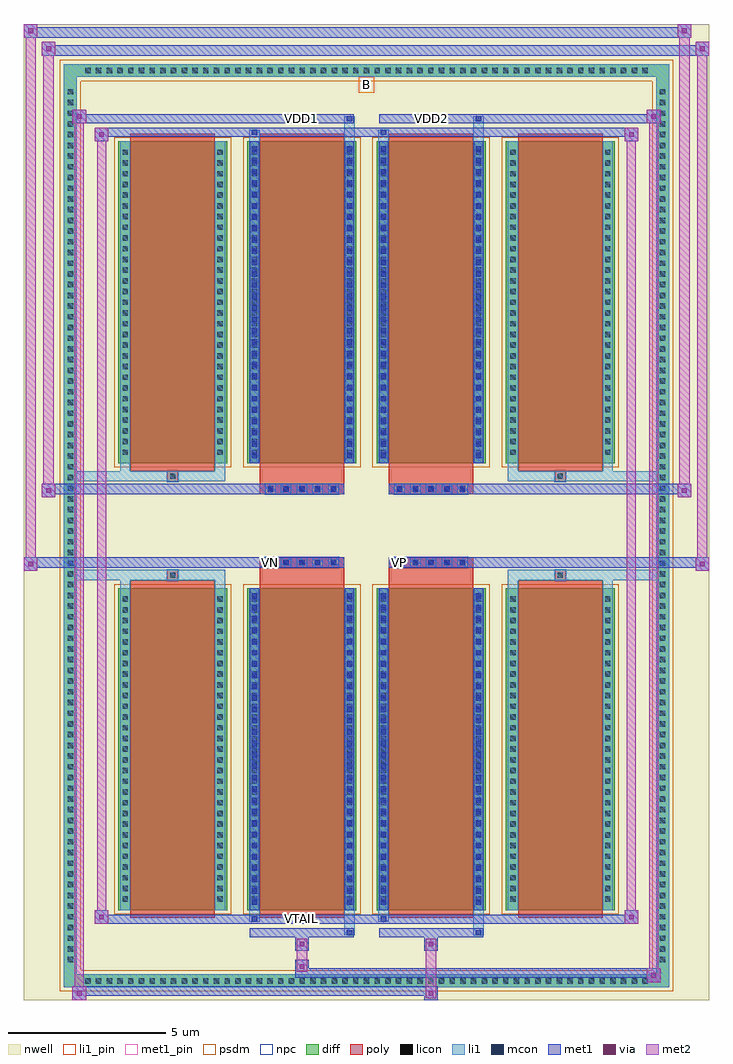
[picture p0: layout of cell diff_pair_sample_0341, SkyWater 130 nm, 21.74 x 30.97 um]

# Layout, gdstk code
import gdstk
lib = gdstk.Library(unit=1e-6, precision=5e-09)
def R(c, l, rs):  # rectangles x0, y0, x1, y1
    for r in rs: c.add(gdstk.rectangle(r[:2], r[2:], *l))
def A(c, l, x, y, w, h, nx, ny, dx, dy):  # array of equal rectangles
    R(c, l, [(x+i*dx, y+j*dy, x+i*dx+w, y+j*dy+h) for i in range(nx) for j in range(ny)])
def P(c, l, *ps):  # polygons
    for p in ps: c.add(gdstk.Polygon(p, *l))
nwell = (64, 20)
diff = (65, 20)
poly = (66, 20)
licon = (66, 44)
li1_pin = (67, 16)
li1 = (67, 20)
mcon = (67, 44)
met1_pin = (68, 16)
met1 = (68, 20)
via = (68, 44)
met2 = (69, 20)
psdm = (94, 20)
npc = (95, 20)

diff_pair_sample_0341 = lib.new_cell('diff_pair_sample_0341')
R(diff_pair_sample_0341, nwell, [(-10.87,-15.05,10.87,15.92), (-8.19,-13.24,-0.01,-0.8), (0.01,-13.24,8.19,-0.8), (-8.19,0.8,-0.01,13.24), (0.01,0.8,8.19,13.24)])
A(diff_pair_sample_0341, diff, -9.045, -14.65, 0.41, 0.41, 53, 2, 0.34, 28.89)
A(diff_pair_sample_0341, diff, -9.6, -13.975, 0.41, 0.41, 1, 82, 0, 0.34)
A(diff_pair_sample_0341, diff, 9.19, -13.975, 0.41, 0.41, 1, 82, 0, 0.34)
A(diff_pair_sample_0341, diff, -7.88, -12.195, 3.46, 10.21, 4, 2, 4.1, 14.18)
R(diff_pair_sample_0341, diff, [(-9.045,-14.65,9.045,-14.24), (-9.6,-13.975,-9.19,13.975), (9.19,-13.975,9.6,13.975), (-9.045,14.24,9.045,14.65)])
P(diff_pair_sample_0341, diff, [(9.6,14.65),(-9.6,14.65),(-9.6,-14.24),(-9.19,-14.24),(-9.19,14.24),(9.19,14.24),(9.19,-14.24),(-9.19,-14.24),(-9.6,-14.24),(-9.6,-14.65),(9.6,-14.65)])
A(diff_pair_sample_0341, poly, -7.49, -12.445, 2.68, 10.71, 4, 2, 4.1, 14.18)
A(diff_pair_sample_0341, poly, -3.215, -1.33, 0.33, 0.33, 5, 2, 0.5, 2.33)
A(diff_pair_sample_0341, poly, 0.885, -1.33, 0.33, 0.33, 5, 2, 0.5, 2.33)
R(diff_pair_sample_0341, poly, [(-6.315,-1.735,-5.985,-1.405), (-6.315,-1.735,-5.985,-1.405), (-3.39,-1.735,-0.71,-1.33), (0.71,-1.735,3.39,-1.33), (5.985,-1.735,6.315,-1.405), (5.985,-1.735,6.315,-1.405), (-3.39,-1.33,-0.71,-1), (0.71,-1.33,3.39,-1), (-3.39,1,-0.71,1.33), (0.71,1,3.39,1.33), (-3.39,1.33,-0.71,1.735), (0.71,1.33,3.39,1.735), (-6.315,1.405,-5.985,1.735), (-6.315,1.405,-5.985,1.735), (5.985,1.405,6.315,1.735), (5.985,1.405,6.315,1.735)])
A(diff_pair_sample_0341, licon, -8.925, -14.53, 0.17, 0.17, 53, 2, 0.34, 28.89)
A(diff_pair_sample_0341, licon, -9.48, -13.855, 0.17, 0.17, 1, 82, 0, 0.34)
A(diff_pair_sample_0341, licon, 9.31, -13.855, 0.17, 0.17, 1, 82, 0, 0.34)
A(diff_pair_sample_0341, licon, -7.74, -11.935, 0.17, 0.17, 1, 29, 0, 0.34)
A(diff_pair_sample_0341, licon, -4.73, -11.935, 0.17, 0.17, 1, 29, 0, 0.34)
A(diff_pair_sample_0341, licon, -3.64, -11.935, 0.17, 0.17, 1, 29, 0, 0.34)
A(diff_pair_sample_0341, licon, -0.63, -11.935, 0.17, 0.17, 1, 29, 0, 0.34)
A(diff_pair_sample_0341, licon, 0.46, -11.935, 0.17, 0.17, 1, 29, 0, 0.34)
A(diff_pair_sample_0341, licon, 3.47, -11.935, 0.17, 0.17, 1, 29, 0, 0.34)
A(diff_pair_sample_0341, licon, 4.56, -11.935, 0.17, 0.17, 1, 29, 0, 0.34)
A(diff_pair_sample_0341, licon, 7.57, -11.935, 0.17, 0.17, 1, 29, 0, 0.34)
A(diff_pair_sample_0341, licon, -3.135, -1.25, 0.17, 0.17, 5, 2, 0.5, 2.33)
A(diff_pair_sample_0341, licon, 0.965, -1.25, 0.17, 0.17, 5, 2, 0.5, 2.33)
A(diff_pair_sample_0341, licon, -7.74, 2.245, 0.17, 0.17, 1, 29, 0, 0.34)
A(diff_pair_sample_0341, licon, -4.73, 2.245, 0.17, 0.17, 1, 29, 0, 0.34)
A(diff_pair_sample_0341, licon, -3.64, 2.245, 0.17, 0.17, 1, 29, 0, 0.34)
A(diff_pair_sample_0341, licon, -0.63, 2.245, 0.17, 0.17, 1, 29, 0, 0.34)
A(diff_pair_sample_0341, licon, 0.46, 2.245, 0.17, 0.17, 1, 29, 0, 0.34)
A(diff_pair_sample_0341, licon, 3.47, 2.245, 0.17, 0.17, 1, 29, 0, 0.34)
A(diff_pair_sample_0341, licon, 4.56, 2.245, 0.17, 0.17, 1, 29, 0, 0.34)
A(diff_pair_sample_0341, licon, 7.57, 2.245, 0.17, 0.17, 1, 29, 0, 0.34)
R(diff_pair_sample_0341, licon, [(-6.235,-1.655,-6.065,-1.485), (6.065,-1.655,6.235,-1.485), (-6.235,1.485,-6.065,1.655), (6.065,1.485,6.235,1.655)])
R(diff_pair_sample_0341, li1_pin, [(-0.25,13.74,0.25,14.24)])
A(diff_pair_sample_0341, li1, -9.005, -14.61, 0.33, 0.33, 53, 2, 0.34, 28.89)
A(diff_pair_sample_0341, li1, -9.56, -13.935, 0.33, 0.33, 1, 82, 0, 0.34)
A(diff_pair_sample_0341, li1, 9.23, -13.935, 0.33, 0.33, 1, 82, 0, 0.34)
A(diff_pair_sample_0341, li1, -3.64, -12.035, 0.17, 0.17, 1, 28, 0, 0.36)
A(diff_pair_sample_0341, li1, -0.63, -12.035, 0.17, 0.17, 1, 28, 0, 0.36)
A(diff_pair_sample_0341, li1, 0.46, -12.035, 0.17, 0.17, 1, 28, 0, 0.36)
A(diff_pair_sample_0341, li1, 3.47, -12.035, 0.17, 0.17, 1, 28, 0, 0.36)
A(diff_pair_sample_0341, li1, -7.82, -12.015, 0.33, 0.33, 1, 29, 0, 0.34)
A(diff_pair_sample_0341, li1, -4.81, -12.015, 0.33, 0.33, 1, 29, 0, 0.34)
A(diff_pair_sample_0341, li1, -3.72, -12.015, 0.33, 0.33, 1, 29, 0, 0.34)
A(diff_pair_sample_0341, li1, -0.71, -12.015, 0.33, 0.33, 1, 29, 0, 0.34)
A(diff_pair_sample_0341, li1, 0.38, -12.015, 0.33, 0.33, 1, 29, 0, 0.34)
A(diff_pair_sample_0341, li1, 3.39, -12.015, 0.33, 0.33, 1, 29, 0, 0.34)
A(diff_pair_sample_0341, li1, 4.48, -12.015, 0.33, 0.33, 1, 29, 0, 0.34)
A(diff_pair_sample_0341, li1, 7.49, -12.015, 0.33, 0.33, 1, 29, 0, 0.34)
A(diff_pair_sample_0341, li1, -3.215, -1.33, 0.33, 0.33, 5, 2, 0.5, 2.33)
A(diff_pair_sample_0341, li1, 0.885, -1.33, 0.33, 0.33, 5, 2, 0.5, 2.33)
A(diff_pair_sample_0341, li1, -3.64, 2.145, 0.17, 0.17, 1, 28, 0, 0.36)
A(diff_pair_sample_0341, li1, -0.63, 2.145, 0.17, 0.17, 1, 28, 0, 0.36)
A(diff_pair_sample_0341, li1, 0.46, 2.145, 0.17, 0.17, 1, 28, 0, 0.36)
A(diff_pair_sample_0341, li1, 3.47, 2.145, 0.17, 0.17, 1, 28, 0, 0.36)
A(diff_pair_sample_0341, li1, -7.82, 2.165, 0.33, 0.33, 1, 29, 0, 0.34)
A(diff_pair_sample_0341, li1, -4.81, 2.165, 0.33, 0.33, 1, 29, 0, 0.34)
A(diff_pair_sample_0341, li1, -3.72, 2.165, 0.33, 0.33, 1, 29, 0, 0.34)
A(diff_pair_sample_0341, li1, -0.71, 2.165, 0.33, 0.33, 1, 29, 0, 0.34)
A(diff_pair_sample_0341, li1, 0.38, 2.165, 0.33, 0.33, 1, 29, 0, 0.34)
A(diff_pair_sample_0341, li1, 3.39, 2.165, 0.33, 0.33, 1, 29, 0, 0.34)
A(diff_pair_sample_0341, li1, 4.48, 2.165, 0.33, 0.33, 1, 29, 0, 0.34)
A(diff_pair_sample_0341, li1, 7.49, 2.165, 0.33, 0.33, 1, 29, 0, 0.34)
R(diff_pair_sample_0341, li1, [(-9.6,-14.65,-9.19,-14.24), (-9.6,-14.65,-9.19,-14.24), (-9.19,-14.65,9.19,-14.24), (9.19,-14.65,9.6,-14.24), (9.19,-14.65,9.6,-14.24), (-9.6,-14.24,-9.19,14.24), (9.19,-14.24,9.6,14.24), (-0.71,-13,-0.38,-12.195), (-0.63,-13,-0.46,-12.83), (3.39,-13,3.72,-12.195), (3.47,-13,3.64,-12.83), (-3.72,-12.57,-3.39,-12.195), (-3.64,-12.57,-3.47,-12.4), (0.38,-12.57,0.71,-12.195), (0.46,-12.57,0.63,-12.4), (-7.82,-12.195,-7.49,-1.985), (-4.81,-12.195,-4.48,-1.985), (-3.72,-12.195,-3.39,-1.985), (-0.71,-12.195,-0.38,-1.985), (0.38,-12.195,0.71,-1.985), (3.39,-12.195,3.72,-1.985), (4.48,-12.195,4.81,-1.985), (7.49,-12.195,7.82,-1.985), (-3.64,-12.035,-3.47,-2.145), (-0.63,-12.035,-0.46,-2.145), (0.46,-12.035,0.63,-2.145), (3.47,-12.035,3.64,-2.145), (-7.82,-1.985,-7.49,-1.405), (-4.81,-1.985,-4.48,-1.405), (4.48,-1.985,4.81,-1.405), (7.49,-1.985,7.82,-1.405), (-9.6,-1.735,-6.315,-1.405), (-7.82,-1.735,-6.315,-1.405), (-6.315,-1.735,-5.985,-1.405), (-5.985,-1.735,-4.48,-1.405), (4.48,-1.735,5.985,-1.405), (5.985,-1.735,6.315,-1.405), (5.985,-1.735,9.6,-1.405), (6.315,-1.735,7.82,-1.405), (-9.6,1.405,-6.315,1.735), (-7.82,1.405,-6.315,1.735), (-7.82,1.405,-7.49,1.985), (-6.315,1.405,-5.985,1.735), (-5.985,1.405,-4.48,1.735), (-4.81,1.405,-4.48,1.985), (4.48,1.405,5.985,1.735), (4.48,1.405,4.81,1.985), (5.985,1.405,6.315,1.735), (5.985,1.405,9.6,1.735), (6.315,1.405,7.82,1.735), (7.49,1.405,7.82,1.985), (-7.82,1.985,-7.49,12.195), (-4.81,1.985,-4.48,12.195), (-3.72,1.985,-3.39,12.195), (-0.71,1.985,-0.38,12.195), (0.38,1.985,0.71,12.195), (3.39,1.985,3.72,12.195), (4.48,1.985,4.81,12.195), (7.49,1.985,7.82,12.195), (-3.64,2.145,-3.47,12.035), (-0.63,2.145,-0.46,12.035), (0.46,2.145,0.63,12.035), (3.47,2.145,3.64,12.035), (-3.72,12.195,-3.39,12.57), (-0.71,12.195,-0.38,13), (0.38,12.195,0.71,12.57), (3.39,12.195,3.72,13), (-3.64,12.4,-3.47,12.57), (0.46,12.4,0.63,12.57), (-0.63,12.83,-0.46,13), (3.47,12.83,3.64,13), (-9.6,14.24,-9.19,14.65), (-9.6,14.24,-9.19,14.65), (-9.19,14.24,9.19,14.65), (9.19,14.24,9.6,14.65), (9.19,14.24,9.6,14.65)])
A(diff_pair_sample_0341, mcon, -3.64, -12.035, 0.17, 0.17, 1, 28, 0, 0.36)
A(diff_pair_sample_0341, mcon, -0.63, -12.035, 0.17, 0.17, 1, 28, 0, 0.36)
A(diff_pair_sample_0341, mcon, 0.46, -12.035, 0.17, 0.17, 1, 28, 0, 0.36)
A(diff_pair_sample_0341, mcon, 3.47, -12.035, 0.17, 0.17, 1, 28, 0, 0.36)
A(diff_pair_sample_0341, mcon, -3.135, -1.25, 0.17, 0.17, 5, 2, 0.5, 2.33)
A(diff_pair_sample_0341, mcon, 0.965, -1.25, 0.17, 0.17, 5, 2, 0.5, 2.33)
A(diff_pair_sample_0341, mcon, -3.64, 2.145, 0.17, 0.17, 1, 28, 0, 0.36)
A(diff_pair_sample_0341, mcon, -0.63, 2.145, 0.17, 0.17, 1, 28, 0, 0.36)
A(diff_pair_sample_0341, mcon, 0.46, 2.145, 0.17, 0.17, 1, 28, 0, 0.36)
A(diff_pair_sample_0341, mcon, 3.47, 2.145, 0.17, 0.17, 1, 28, 0, 0.36)
R(diff_pair_sample_0341, mcon, [(-0.63,-13,-0.46,-12.83), (3.47,-13,3.64,-12.83), (-3.64,-12.57,-3.47,-12.4), (0.46,-12.57,0.63,-12.4), (-3.64,12.4,-3.47,12.57), (0.46,12.4,0.63,12.57), (-0.63,12.83,-0.46,13), (3.47,12.83,3.64,13)])
R(diff_pair_sample_0341, met1_pin, [(-2.185,-12.61,-1.915,-12.34), (-3.185,-1.29,-2.915,-1.02), (0.915,-1.29,1.185,-1.02), (-2.185,12.79,-1.915,13.06), (1.915,12.79,2.185,13.06)])
A(diff_pair_sample_0341, met1, -3.7, -12.095, 0.29, 0.29, 1, 28, 0, 0.36)
A(diff_pair_sample_0341, met1, -0.69, -12.095, 0.29, 0.29, 1, 28, 0, 0.36)
A(diff_pair_sample_0341, met1, 0.4, -12.095, 0.29, 0.29, 1, 28, 0, 0.36)
A(diff_pair_sample_0341, met1, 3.41, -12.095, 0.29, 0.29, 1, 28, 0, 0.36)
A(diff_pair_sample_0341, met1, -3.195, -1.31, 0.29, 0.29, 5, 2, 0.5, 2.33)
A(diff_pair_sample_0341, met1, 0.905, -1.31, 0.29, 0.29, 5, 2, 0.5, 2.33)
A(diff_pair_sample_0341, met1, -3.7, 2.085, 0.29, 0.29, 1, 28, 0, 0.36)
A(diff_pair_sample_0341, met1, -0.69, 2.085, 0.29, 0.29, 1, 28, 0, 0.36)
A(diff_pair_sample_0341, met1, 0.4, 2.085, 0.29, 0.29, 1, 28, 0, 0.36)
A(diff_pair_sample_0341, met1, 3.41, 2.085, 0.29, 0.29, 1, 28, 0, 0.36)
R(diff_pair_sample_0341, met1, [(-9.33,-15.05,-8.9,-14.62), (1.835,-15.05,2.265,-14.62), (-9.33,-14.91,2.265,-14.62), (8.9,-14.48,9.33,-14.05), (-2.265,-14.34,9.33,-14.05), (-2.265,-14.2,-1.835,-13.77), (-2.265,-13.49,-1.835,-13.06), (1.835,-13.49,2.265,-13.06), (-3.7,-13.06,-0.4,-12.77), (-0.69,-13.06,-0.4,-12.77), (0.4,-13.06,3.7,-12.77), (3.41,-13.06,3.7,-12.77), (-8.62,-12.63,-8.19,-12.2), (-8.62,-12.63,-3.7,-12.34), (-3.7,-12.63,-3.41,-12.34), (-3.7,-12.63,-0.4,-12.34), (-0.4,-12.63,0.4,-12.34), (0.4,-12.63,0.69,-12.34), (0.4,-12.63,3.7,-12.34), (3.7,-12.63,8.62,-12.34), (8.19,-12.63,8.62,-12.2), (-3.7,-12.195,-3.41,-1.985), (-0.69,-12.195,-0.4,-1.985), (0.4,-12.195,0.69,-1.985), (3.41,-12.195,3.7,-1.985), (-10.87,-1.43,-10.44,-1), (10.44,-1.43,10.87,-1), (-10.87,-1.33,-0.71,-1), (-3.39,-1.33,-0.71,-1), (0.71,-1.33,3.39,-1), (0.71,-1.33,10.87,-1), (-10.3,0.9,-9.87,1.33), (9.87,0.9,10.3,1.33), (-10.3,1,-3.39,1.33), (-3.39,1,-0.71,1.33), (0.71,1,3.39,1.33), (3.39,1,10.3,1.33), (-3.7,1.985,-3.41,12.195), (-0.69,1.985,-0.4,12.195), (0.4,1.985,0.69,12.195), (3.41,1.985,3.7,12.195), (-8.62,12.2,-8.19,12.63), (8.19,12.2,8.62,12.63), (-8.62,12.34,-3.7,12.63), (-3.7,12.34,-3.41,12.63), (-3.7,12.34,-0.4,12.63), (-0.4,12.34,0.4,12.63), (0.4,12.34,0.69,12.63), (0.4,12.34,3.7,12.63), (3.7,12.34,8.62,12.63), (-9.33,12.77,-8.9,13.2), (-9.33,12.77,-3.7,13.06), (-3.7,12.77,-0.4,13.06), (-0.69,12.77,-0.4,13.06), (0.4,12.77,3.7,13.06), (3.41,12.77,3.7,13.06), (3.7,12.77,9.33,13.06), (8.9,12.77,9.33,13.2), (-10.3,14.92,-9.87,15.35), (-10.3,14.92,-8.19,15.25), (-8.19,14.92,8.19,15.25), (8.19,14.92,10.87,15.25), (10.44,14.92,10.87,15.35), (-10.87,15.49,-8.19,15.82), (-10.87,15.49,-10.44,15.92), (-8.19,15.49,8.19,15.82), (8.19,15.49,10.3,15.82), (9.87,15.49,10.3,15.92)])
R(diff_pair_sample_0341, via, [(-9.19,-14.91,-9.04,-14.76), (1.975,-14.91,2.125,-14.76), (9.04,-14.34,9.19,-14.19), (-2.125,-14.06,-1.975,-13.91), (-2.125,-13.35,-1.975,-13.2), (1.975,-13.35,2.125,-13.2), (-8.48,-12.49,-8.33,-12.34), (8.33,-12.49,8.48,-12.34), (-10.73,-1.29,-10.58,-1.14), (10.58,-1.29,10.73,-1.14), (-10.16,1.04,-10.01,1.19), (10.01,1.04,10.16,1.19), (-8.48,12.34,-8.33,12.49), (8.33,12.34,8.48,12.49), (-9.19,12.91,-9.04,13.06), (9.04,12.91,9.19,13.06), (-10.16,15.06,-10.01,15.21), (10.58,15.06,10.73,15.21), (-10.73,15.63,-10.58,15.78), (10.01,15.63,10.16,15.78)])
R(diff_pair_sample_0341, met2, [(-9.33,-15.05,-8.9,-14.62), (-9.26,-15.05,-8.97,13.2), (-8.97,-15.05,-8.9,-14.62), (-9.28,-15,-8.95,-14.67), (1.885,-15,2.215,-14.67), (1.885,-14.67,2.215,-13.44), (8.9,-14.48,9.33,-14.05), (8.97,-14.48,9.26,13.2), (9.26,-14.48,9.33,-14.05), (8.95,-14.43,9.28,-14.1), (-2.215,-14.15,-1.885,-13.82), (-2.215,-13.82,-1.885,-13.44), (-2.215,-13.44,-1.885,-13.11), (1.885,-13.44,2.215,-13.11), (-8.62,-12.63,-8.19,-12.2), (-8.55,-12.63,-8.26,12.63), (-8.26,-12.63,-8.19,-12.2), (8.19,-12.63,8.62,-12.2), (8.26,-12.63,8.55,12.63), (8.55,-12.63,8.62,-12.2), (-8.57,-12.58,-8.24,-12.25), (8.24,-12.58,8.57,-12.25), (-10.87,-1.43,-10.44,-1), (-10.82,-1.43,-10.49,15.92), (-10.49,-1.43,-10.44,-1), (10.44,-1.43,10.87,-1), (10.49,-1.43,10.82,15.35), (10.82,-1.43,10.87,-1), (-10.82,-1.38,-10.49,-1.05), (10.49,-1.38,10.82,-1.05), (-10.3,0.9,-9.87,1.33), (-10.25,0.9,-9.92,15.35), (-9.92,0.9,-9.87,1.33), (9.87,0.9,10.3,1.33), (9.92,0.9,10.25,15.92), (10.25,0.9,10.3,1.33), (-10.25,0.95,-9.92,1.28), (9.92,0.95,10.25,1.28), (-8.62,12.2,-8.19,12.63), (-8.26,12.2,-8.19,12.63), (8.19,12.2,8.62,12.63), (8.55,12.2,8.62,12.63), (-8.57,12.25,-8.24,12.58), (8.24,12.25,8.57,12.58), (-9.33,12.77,-8.9,13.2), (-8.97,12.77,-8.9,13.2), (8.9,12.77,9.33,13.2), (9.26,12.77,9.33,13.2), (-9.28,12.82,-8.95,13.15), (8.95,12.82,9.28,13.15), (-10.3,14.92,-9.87,15.35), (-9.92,14.92,-9.87,15.35), (10.44,14.92,10.87,15.35), (10.82,14.92,10.87,15.35), (-10.25,14.97,-9.92,15.3), (10.49,14.97,10.82,15.3), (-10.87,15.49,-10.44,15.92), (-10.49,15.49,-10.44,15.92), (9.87,15.49,10.3,15.92), (10.25,15.49,10.3,15.92), (-10.82,15.54,-10.49,15.87), (9.92,15.54,10.25,15.87)])
A(diff_pair_sample_0341, psdm, -8.01, -12.325, 3.72, 10.47, 4, 2, 4.1, 14.18)
P(diff_pair_sample_0341, psdm, [(9.73,14.78),(-9.73,14.78),(-9.73,-14.11),(-9.06,-14.11),(-9.06,14.11),(9.06,14.11),(9.06,-14.11),(-9.06,-14.11),(-9.73,-14.11),(-9.73,-14.78),(9.73,-14.78)])
A(diff_pair_sample_0341, npc, -3.235, -1.35, 0.37, 0.37, 5, 2, 0.5, 2.33)
A(diff_pair_sample_0341, npc, 0.865, -1.35, 0.37, 0.37, 5, 2, 0.5, 2.33)
R(diff_pair_sample_0341, npc, [(-6.335,-1.755,-5.965,-1.385), (5.965,-1.755,6.335,-1.385), (-3.235,-1.35,-2.365,-0.98), (-3.235,-1.35,-2.365,-0.98), (-2.735,-1.35,-1.865,-0.98), (-2.735,-1.35,-1.865,-0.98), (-2.235,-1.35,-1.365,-0.98), (-2.235,-1.35,-1.365,-0.98), (-1.735,-1.35,-0.865,-0.98), (-1.735,-1.35,-0.865,-0.98), (0.865,-1.35,1.735,-0.98), (0.865,-1.35,1.735,-0.98), (1.365,-1.35,2.235,-0.98), (1.365,-1.35,2.235,-0.98), (1.865,-1.35,2.735,-0.98), (1.865,-1.35,2.735,-0.98), (2.365,-1.35,3.235,-0.98), (2.365,-1.35,3.235,-0.98), (-3.235,0.98,-2.365,1.35), (-3.235,0.98,-2.365,1.35), (-2.735,0.98,-1.865,1.35), (-2.735,0.98,-1.865,1.35), (-2.235,0.98,-1.365,1.35), (-2.235,0.98,-1.365,1.35), (-1.735,0.98,-0.865,1.35), (-1.735,0.98,-0.865,1.35), (0.865,0.98,1.735,1.35), (0.865,0.98,1.735,1.35), (1.365,0.98,2.235,1.35), (1.365,0.98,2.235,1.35), (1.865,0.98,2.735,1.35), (1.865,0.98,2.735,1.35), (2.365,0.98,3.235,1.35), (2.365,0.98,3.235,1.35), (-6.335,1.385,-5.965,1.755), (5.965,1.385,6.335,1.755)])
diff_pair_sample_0341.add(gdstk.Label('VTAIL', (-2.05,-12.475), layer=68, texttype=5))
diff_pair_sample_0341.add(gdstk.Label('VN', (-3.05,-1.155), layer=68, texttype=5))
diff_pair_sample_0341.add(gdstk.Label('VP', (1.05,-1.155), layer=68, texttype=5))
diff_pair_sample_0341.add(gdstk.Label('B', (0,13.99), layer=67, texttype=5))
diff_pair_sample_0341.add(gdstk.Label('VDD2', (2.05,12.925), layer=68, texttype=5))
diff_pair_sample_0341.add(gdstk.Label('VDD1', (-2.05,12.925), layer=68, texttype=5))

lib.write_gds('diff_pair_sample_0341.gds')
